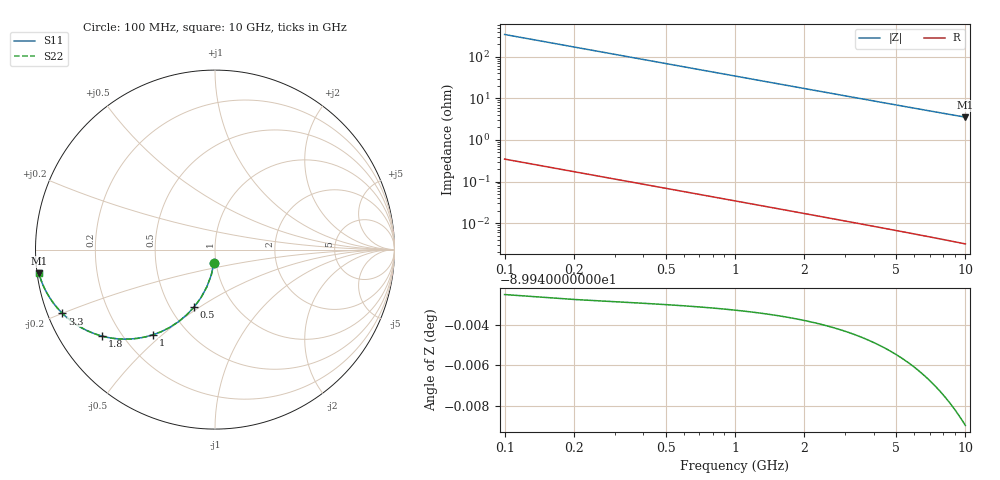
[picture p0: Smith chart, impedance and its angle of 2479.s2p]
# Hz S RI R 50.00
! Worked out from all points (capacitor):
!   100 points, 100 MHz to 10 GHz, reference 50 ohm
!   read as one part in shunt: C = 4.6 pF near 100 MHz
!   lowest |Z| = 3.54 ohm at 10 GHz (marker M1)
!   S11 on the Smith chart (normalised r, x): 100 MHz: 0.98, -0.14; 500 MHz: 0.66, -0.47; 1 GHz: 0.32, -0.47; 1.8 GHz: 0.13, -0.33; 3.3 GHz: 0.04, -0.20; 10 GHz: 0.01, -0.07
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1e8  -0.00526 -0.0719  0.9947 -0.072  0.9947 -0.072  -0.00526 -0.0719
2e8  -0.0206 -0.1415  0.9794 -0.1417  0.9794 -0.1417  -0.0206 -0.1415
3e8  -0.0451 -0.207  0.9549 -0.2072  0.9549 -0.2072  -0.0451 -0.207
4e8  -0.0774 -0.2666  0.9226 -0.2669  0.9226 -0.2669  -0.0774 -0.2666
5e8  -0.1158 -0.3194  0.8842 -0.3197  0.8842 -0.3197  -0.1158 -0.3194
6e8  -0.1586 -0.3646  0.8414 -0.365  0.8414 -0.365  -0.1586 -0.3646
7e8  -0.2041 -0.4023  0.7959 -0.4028  0.7959 -0.4028  -0.2041 -0.4023
8e8  -0.2508 -0.4327  0.7491 -0.4332  0.7491 -0.4332  -0.2508 -0.4327
1e9  -0.3433 -0.474  0.6567 -0.4746  0.6567 -0.4746  -0.3433 -0.474
1.3e9  -0.4689 -0.4981  0.5311 -0.4989  0.5311 -0.4989  -0.4689 -0.4981
1.5e9  -0.5402 -0.4974  0.4598 -0.4983  0.4598 -0.4983  -0.5402 -0.4974
1.8e9  -0.6283 -0.4822  0.3717 -0.4833  0.3717 -0.4833  -0.6283 -0.4822
2.1e9  -0.6969 -0.4584  0.3031 -0.4597  0.3031 -0.4597  -0.6969 -0.4584
2.5e9  -0.765 -0.4227  0.2349 -0.4243  0.2349 -0.4243  -0.765 -0.4227
2.9e9  -0.814 -0.3877  0.1859 -0.3895  0.1859 -0.3895  -0.814 -0.3877
3.3e9  -0.8499 -0.3556  0.15 -0.3576  0.15 -0.3576  -0.8499 -0.3556
3.4e9  -0.8574 -0.3481  0.1426 -0.3502  0.1426 -0.3502  -0.8574 -0.3481
4.2e9  -0.9016 -0.296  0.0984 -0.2987  0.0984 -0.2987  -0.9016 -0.296
5.1e9  -0.931 -0.2514  0.069 -0.2546  0.069 -0.2546  -0.931 -0.2514
6.7e9  -0.9587 -0.1962  0.0412 -0.2004  0.0412 -0.2004  -0.9587 -0.1962
8.4e9  -0.9733 -0.1579  0.0266 -0.1632  0.0266 -0.1632  -0.9733 -0.1579
1e10  -0.981 -0.1326  0.0189 -0.139  0.0189 -0.139  -0.981 -0.1326
